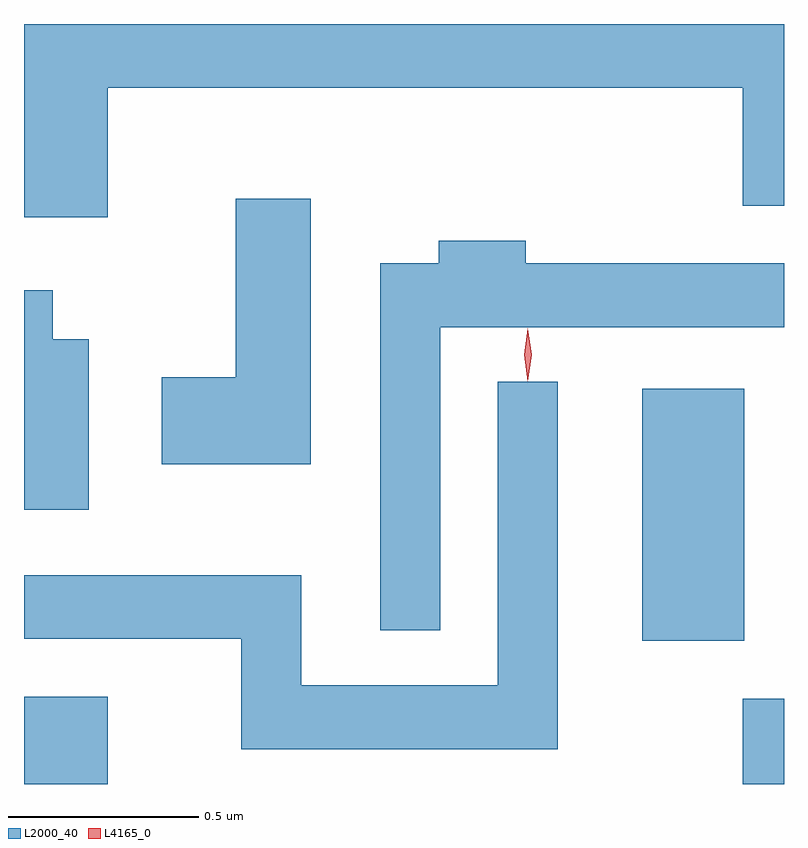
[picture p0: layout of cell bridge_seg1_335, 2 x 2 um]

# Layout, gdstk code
import gdstk
lib = gdstk.Library(unit=1e-6, precision=1e-09)
def R(c, l, rs):  # rectangles x0, y0, x1, y1
    for r in rs: c.add(gdstk.rectangle(r[:2], r[2:], *l))
def P(c, l, *ps):  # polygons
    for p in ps: c.add(gdstk.Polygon(p, *l))
L2000_40 = (2000, 40)
L4165_0 = (4165, 0)

bridge_seg1_335 = lib.new_cell('bridge_seg1_335')
R(bridge_seg1_335, L2000_40, [(931.429,875.544,931.649,875.774), (933.321,875.544,933.429,875.769), (933.056,875.921,933.324,876.584)])
P(bridge_seg1_335, L2000_40, [(931.649,877.376),(933.321,877.376),(933.321,877.066),(933.429,877.066),(933.429,877.544),(931.429,877.544),(931.429,877.036),(931.649,877.036)],
  [(932.184,877.084),(931.986,877.084),(931.986,876.614),(931.791,876.614),(931.791,876.386),(932.184,876.386)],
  [(932.524,876.746),(933.429,876.746),(933.429,876.914),(932.749,876.914),(932.749,876.974),(932.521,876.974),(932.521,876.914),(932.366,876.914),(932.366,875.948),(932.524,875.948)],
  [(931.599,876.714),(931.504,876.714),(931.504,876.844),(931.429,876.844),(931.429,876.266),(931.599,876.266)],
  [(932.834,876.603),(932.676,876.603),(932.676,875.804),(932.159,875.804),(932.159,876.094),(931.429,876.094),(931.429,875.926),(932.001,875.926),(932.001,875.636),(932.834,875.636)])
P(bridge_seg1_335, L4165_0, [(932.755,876.607),(932.754,876.608),(932.745,876.674),(932.754,876.74),(932.755,876.741),(932.755,876.74),(932.765,876.674),(932.755,876.608)],
  [(932.754,876.604),(932.745,876.673),(932.754,876.742),(932.755,876.743),(932.755,876.742),(932.765,876.673),(932.755,876.604),(932.755,876.604)])

lib.write_gds('bridge_seg1_335.gds')
